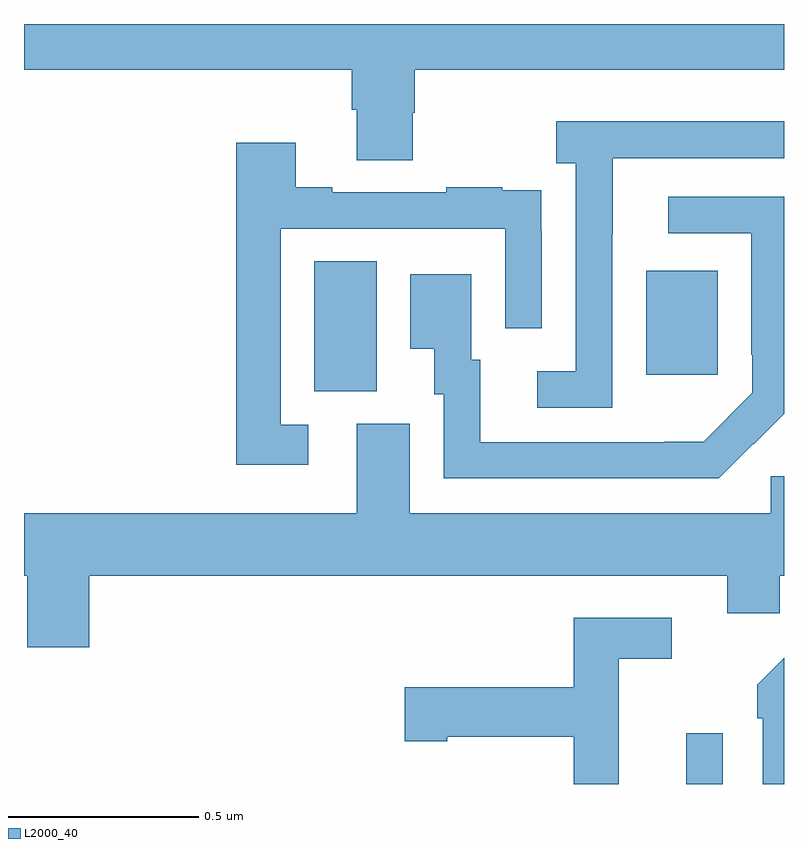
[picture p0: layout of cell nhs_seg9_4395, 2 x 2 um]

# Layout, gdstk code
import gdstk
lib = gdstk.Library(unit=1e-6, precision=1e-09)
def R(c, l, rs):  # rectangles x0, y0, x1, y1
    for r in rs: c.add(gdstk.rectangle(r[:2], r[2:], *l))
def P(c, l, *ps):  # polygons
    for p in ps: c.add(gdstk.Polygon(p, *l))
L2000_40 = (2000, 40)

nhs_seg9_4395 = lib.new_cell('nhs_seg9_4395')
R(nhs_seg9_4395, L2000_40, [(166.743,1234.5,166.839,1234.633), (165.764,1235.533,165.928,1235.876), (166.637,1235.577,166.825,1235.851)])
P(nhs_seg9_4395, L2000_40, [(166.023,1236.267),(166.028,1236.267),(166.028,1236.38),(167,1236.38),(167,1236.5),(165,1236.5),(165,1236.38),(165.863,1236.38),(165.863,1236.274),(165.875,1236.274),(165.875,1236.142),(166.023,1236.142)],
  [(166.548,1235.947),(166.549,1235.947),(166.549,1236.147),(167,1236.147),(167,1236.244),(166.401,1236.244),(166.401,1236.134),(166.452,1236.134),(166.452,1235.586),(166.35,1235.586),(166.35,1235.49),(166.548,1235.49)],
  [(165.748,1235.445),(165.675,1235.445),(165.675,1235.961),(166.266,1235.961),(166.266,1235.7),(166.362,1235.7),(166.362,1235.954),(166.361,1235.954),(166.361,1236.063),(166.259,1236.063),(166.259,1236.07),(166.111,1236.07),(166.111,1236.057),(165.811,1236.057),(165.811,1236.07),(165.715,1236.07),(165.715,1236.187),(165.559,1236.187),(165.559,1235.34),(165.748,1235.34)],
  [(166.919,1235.395),(166.92,1235.394),(167,1235.474),(167,1236.045),(166.695,1236.045),(166.695,1235.949),(166.914,1235.949),(166.914,1235.629),(166.917,1235.629),(166.917,1235.529),(166.789,1235.401),(166.685,1235.401),(166.685,1235.4),(166.201,1235.4),(166.201,1235.616),(166.177,1235.616),(166.177,1235.842),(166.016,1235.842),(166.016,1235.645),(166.079,1235.645),(166.079,1235.526),(166.104,1235.526),(166.104,1235.304),(166.828,1235.304)],
  [(165.172,1235.048),(166.85,1235.048),(166.85,1234.95),(166.989,1234.95),(166.989,1235.048),(167,1235.048),(167,1235.31),(166.965,1235.31),(166.965,1235.212),(166.015,1235.212),(166.015,1235.448),(165.875,1235.448),(165.875,1235.212),(165,1235.212),(165,1235.048),(165.008,1235.048),(165.008,1234.86),(165.172,1234.86)],
  [(166.565,1234.83),(166.705,1234.83),(166.705,1234.938),(166.447,1234.938),(166.447,1234.755),(166.002,1234.755),(166.002,1234.613),(166.114,1234.613),(166.114,1234.625),(166.447,1234.625),(166.447,1234.5),(166.565,1234.5)],
  [(167,1234.832),(166.929,1234.761),(166.929,1234.673),(166.944,1234.673),(166.944,1234.5),(167,1234.5)])

lib.write_gds('nhs_seg9_4395.gds')
